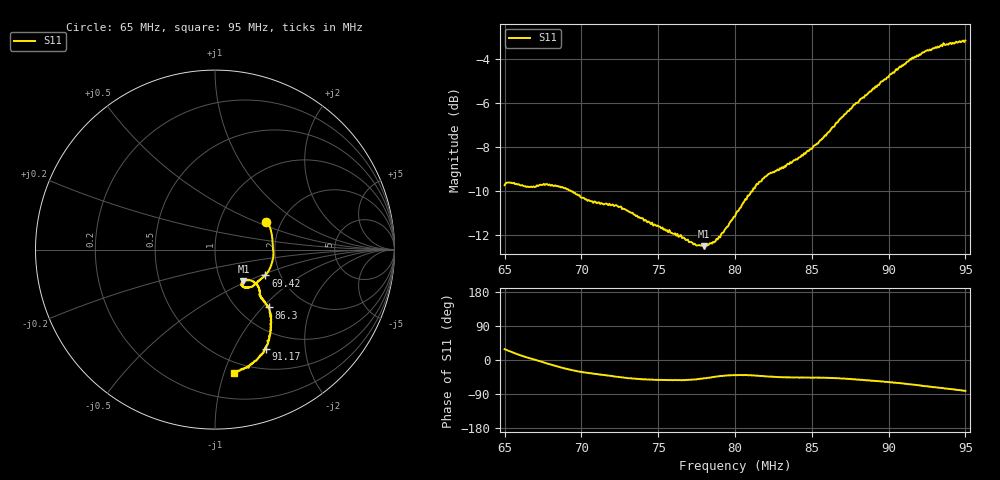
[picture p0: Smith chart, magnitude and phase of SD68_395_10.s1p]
! NanoVNA-App
! Date: 2025-08-02 16:04:45
! Start: 65MHz Stop: 95MHz Points: 401
! S-Parameter data: F S11
# Hz S RI R 50
!  Frequency  S11_Real  S11_Imag
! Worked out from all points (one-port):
!   401 points, 65 MHz to 95 MHz, reference 50 ohm
!   lowest |S11| = -12.5 dB at 77.97 MHz (marker M1), VSWR 1.62, Z = 63.8 - j23.8 ohm
!   |S11| at or under -10 dB: 69.31 MHz to 81.14 MHz (11.83 MHz wide, 15.7 % of centre)
!   S11 on the Smith chart (normalised r, x): 65 MHz: 1.67, +0.58; 69.42 MHz: 1.67, -0.53; 86.3 MHz: 1.35, -1.08; 91.17 MHz: 0.75, -1.35; 95 MHz: 0.41, -1.08
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6.5e7  0.2863 0.1556
6.575e7  0.3146 0.0936
6.65e7  0.3215 0.0359
6.725e7  0.3254 -0.0139
6.785e7  0.3207 -0.058
6.875e7  0.3028 -0.1117
6.9425e7  0.2807 -0.1438
7.0625e7  0.2455 -0.1716
7.25e7  0.2057 -0.2059
7.415e7  0.1718 -0.2107
7.625e7  0.1517 -0.2019
7.7375e7  0.1505 -0.1868
7.7975e7  0.1581 -0.1764
7.8875e7  0.1786 -0.1683
8e7  0.213 -0.1764
8.15e7  0.2457 -0.2167
8.2175e7  0.2496 -0.2387
8.375e7  0.2569 -0.2646
8.54e7  0.278 -0.2943
8.63e7  0.2985 -0.3222
8.75e7  0.3145 -0.3695
8.9525e7  0.3072 -0.4683
9.0575e7  0.2933 -0.5179
9.1175e7  0.2819 -0.5526
9.125e7  0.2741 -0.5575
9.2375e7  0.233 -0.6129
9.35e7  0.1848 -0.6477
9.5e7  0.1034 -0.6862
